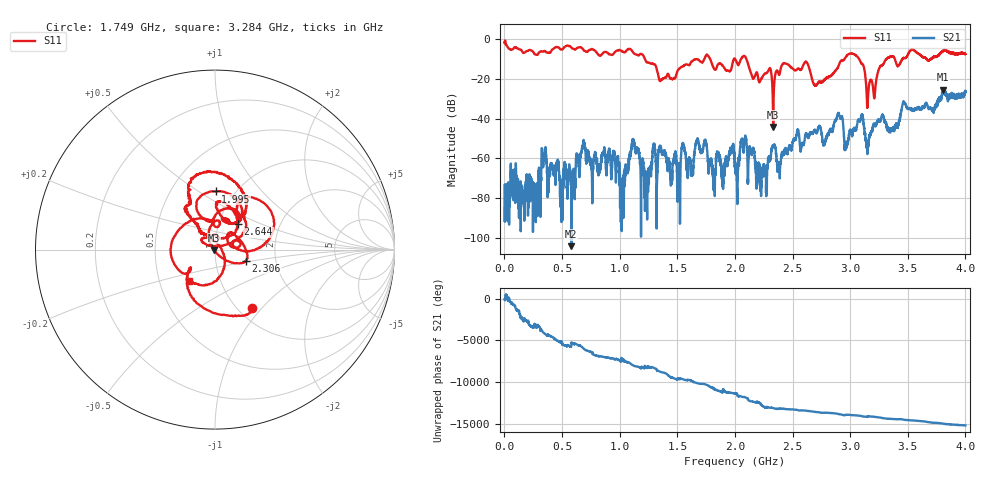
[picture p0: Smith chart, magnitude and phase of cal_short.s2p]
!Created with skrf (http://scikit-rf.org).
# GHz S RI R 50.0
!freq ReS11 ImS11 ReS21 ImS21 ReS12 ImS12 ReS22 ImS22
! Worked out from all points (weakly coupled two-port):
!   4000 points, 1 MHz to 4 GHz, reference 50 ohm
!   highest |S21| = -25.50 dB at 3.808 GHz (marker M1); lowest = -104.1 dB at 580 MHz (marker M2)
!   lowest |S11| = -44.1 dB at 2.332 GHz (marker M3), VSWR 1.01, Z = 49.4 - j0.251 ohm
!   |S11| at or under -10 dB: 1.219 GHz to 1.734 GHz (515 MHz wide, 34.9 % of centre); 2.1 GHz to 2.951 GHz (851.2 MHz wide, 33.7 % of centre); 3.078 GHz to 3.314 GHz (236.3 MHz wide, 7.39 % of centre) (the widest 3 of 9)
!   S12 and S22 are empty: the file has one direction only
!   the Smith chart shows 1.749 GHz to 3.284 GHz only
!   S11 on the Smith chart (normalised r, x): 1.749 GHz: 1.16, -0.89; 1.995 GHz: 0.82, +0.59; 2.306 GHz: 1.40, -0.18; 2.644 GHz: 1.23, +0.36; 3.284 GHz: 0.71, -0.26
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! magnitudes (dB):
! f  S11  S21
! 1 MHz  -1.7  -91.3
! 270 MHz  -7.7  -75.8
! 342 MHz  -6.1  -60.6
! 580 MHz  -4.2  -104.1
! 668 MHz  -4.3  -56.4
! 1.023 GHz  -6.3  -74.0
! 1.116 GHz  -6.7  -50.2
! 1.23 GHz  -11.4  -71.7
! 1.334 GHz  -18.1  -58.1
! 1.749 GHz  -8.2  -52.1
! 1.814 GHz  -14.3  -70.0
! 1.995 GHz  -9.8  -59.0
! 2.001 GHz  -9.9  -64.2
! 2.306 GHz  -14.8  -60.0
! 2.332 GHz  -44.1  -53.5
! 2.644 GHz  -14.4  -48.7
! 2.667 GHz  -19.6  -47.2
! 3.157 GHz  -26.9  -53.3
! 3.284 GHz  -13.0  -38.1
! 3.334 GHz  -9.3  -46.1
! 3.808 GHz  -5.8  -25.5
! 4 GHz  -7.5  -26.2
